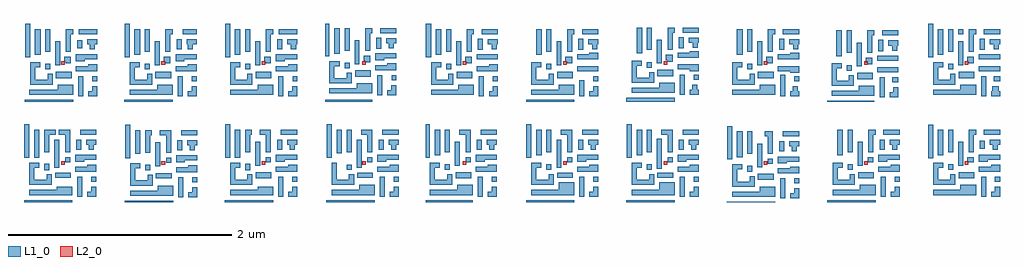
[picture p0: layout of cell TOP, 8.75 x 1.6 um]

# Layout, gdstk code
import gdstk
lib = gdstk.Library(unit=1e-6, precision=1e-09)
def R(c, l, rs):  # rectangles x0, y0, x1, y1
    for r in rs: c.add(gdstk.rectangle(r[:2], r[2:], *l))
def A(c, l, x, y, w, h, nx, ny, dx, dy):  # array of equal rectangles
    R(c, l, [(x+i*dx, y+j*dy, x+i*dx+w, y+j*dy+h) for i in range(nx) for j in range(ny)])
def P(c, l, *ps):  # polygons
    for p in ps: c.add(gdstk.Polygon(p, *l))
L1_0 = (1, 0)
L2_0 = (2, 0)

top = lib.new_cell('TOP')
A(top, L1_0, 4.778, 1.111, 0.14, 0.058, 3, 1, 1.8, 0)
A(top, L1_0, 4.683, 1.188, 0.045, 0.05, 3, 1, 1.8, 0)
A(top, L1_0, 4.773, 1.227, 0.044, 0.212, 3, 1, 1.8, 0)
A(top, L1_0, 4.59, 1.318, 0.05, 0.23, 3, 1, 1.8, 0)
A(top, L1_0, 4.683, 1.348, 0.045, 0.2, 3, 1, 1.8, 0)
A(top, L1_0, 4.968, 1.363, 0.045, 0.1, 3, 1, 1.8, 0)
A(top, L1_0, 5.003, 1.503, 0.145, 0.045, 3, 1, 1.8, 0)
R(top, L1_0, [(0,0,0.433,0.018), (0.905,0,1.338,0.013), (1.8,0,2.233,0.018), (2.71,0,3.143,0.018), (3.6,0,4.023,0.018), (4.5,0,4.933,0.018), (5.4,0,5.833,0.018), (6.3,0,6.733,0.003), (7.2,0,7.633,0.018), (6.778,0.033,6.823,0.213), (1.383,0.043,1.428,0.223), (0.478,0.048,0.523,0.228), (2.278,0.048,2.323,0.228), (3.188,0.048,3.233,0.228), (4.068,0.048,4.113,0.228), (4.978,0.048,5.023,0.228), (5.878,0.048,5.923,0.228), (7.678,0.048,7.723,0.228), (8.578,0.048,8.623,0.228), (6.903,0.168,6.948,0.213), (1.508,0.178,1.553,0.223), (0.603,0.183,0.648,0.228), (2.403,0.183,2.448,0.228), (3.313,0.183,3.358,0.228), (4.193,0.183,4.238,0.228), (5.103,0.183,5.148,0.228), (6.003,0.183,6.048,0.228), (7.803,0.183,7.848,0.228), (8.703,0.183,8.748,0.228), (6.578,0.198,6.718,0.253), (7.478,0.211,7.618,0.269), (8.378,0.211,8.518,0.269), (1.183,0.213,1.323,0.258), (2.078,0.214,2.218,0.266), (3.868,0.214,4.008,0.266), (0.278,0.218,0.418,0.263), (2.988,0.218,3.128,0.263), (4.778,0.218,4.918,0.263), (5.678,0.218,5.818,0.263), (6.483,0.273,6.528,0.323), (0.183,0.283,0.228,0.343), (1.088,0.283,1.133,0.333), (1.983,0.283,2.028,0.343), (3.773,0.288,3.818,0.338), (4.683,0.288,4.728,0.338), (5.583,0.288,5.628,0.338), (7.383,0.288,7.428,0.338), (8.283,0.288,8.328,0.338), (2.893,0.29,2.938,0.335), (5.673,0.298,5.717,0.568), (0.273,0.308,0.317,0.558), (2.983,0.308,3.027,0.558), (4.773,0.308,4.817,0.558), (6.573,0.312,6.617,0.524), (1.178,0.322,1.222,0.534), (2.073,0.327,2.117,0.539), (3.863,0.327,3.907,0.539), (7.473,0.327,7.517,0.539), (8.373,0.327,8.417,0.539), (6.668,0.343,6.713,0.388), (1.273,0.353,1.318,0.398), (0.368,0.358,0.413,0.403), (2.168,0.358,2.213,0.403), (3.078,0.358,3.123,0.403), (3.958,0.358,4.003,0.403), (4.868,0.358,4.913,0.403), (5.768,0.358,5.813,0.403), (7.563,0.358,7.613,0.403), (8.453,0.358,8.513,0.403), (6.303,0.382,6.348,0.681), (0.908,0.392,0.953,0.691), (8.103,0.392,8.148,0.691), (0.003,0.397,0.048,0.696), (1.803,0.397,1.848,0.696), (2.713,0.397,2.758,0.696), (3.6,0.397,3.638,0.696), (4.503,0.397,4.548,0.696), (5.403,0.397,5.448,0.696), (0.093,0.398,0.138,0.648), (1.89,0.398,1.94,0.648), (6.39,0.403,6.44,0.633), (3.68,0.418,3.73,0.648), (4.59,0.418,4.64,0.648), (5.49,0.418,5.54,0.648), (7.29,0.418,7.34,0.648), (8.19,0.418,8.24,0.648), (0.998,0.431,1.043,0.643), (6.483,0.433,6.528,0.633), (2.803,0.436,2.848,0.648), (2.893,0.448,2.938,0.648), (3.773,0.448,3.818,0.648), (4.683,0.448,4.728,0.648), (5.583,0.448,5.628,0.648), (7.383,0.448,7.428,0.648), (8.283,0.448,8.328,0.648), (6.768,0.453,6.813,0.543), (1.373,0.463,1.418,0.553), (0.468,0.468,0.513,0.558), (2.268,0.468,2.313,0.558), (3.178,0.468,3.223,0.558), (4.058,0.468,4.103,0.558), (4.968,0.468,5.013,0.558), (5.868,0.468,5.913,0.558), (7.668,0.468,7.713,0.558), (8.568,0.477,8.613,0.549), (6.803,0.588,6.948,0.633), (1.408,0.598,1.553,0.643), (0.503,0.603,0.648,0.648), (2.303,0.603,2.448,0.648), (3.213,0.603,3.358,0.648), (4.093,0.603,4.238,0.648), (5.003,0.603,5.148,0.648), (5.903,0.603,6.048,0.648), (7.703,0.603,7.848,0.648), (8.603,0.603,8.748,0.648), (0.007,0.9,0.44,0.918), (0.9,0.9,1.333,0.918), (2.7,0.9,3.123,0.918), (4.5,0.9,4.933,0.918), (5.4,0.9,5.833,0.933), (7.2,0.9,7.623,0.908), (7.668,0.938,7.713,1.118), (0.486,0.948,0.531,1.128), (1.378,0.948,1.423,1.128), (2.278,0.948,2.323,1.128), (4.078,0.948,4.123,1.128), (4.978,0.948,5.023,1.092), (6.778,0.948,6.823,1.143), (8.578,0.948,8.623,1.128), (3.168,0.958,3.213,1.138), (5.878,0.963,5.923,1.143), (7.783,1.073,7.838,1.118), (0.611,1.083,0.656,1.128), (1.503,1.083,1.548,1.128), (2.408,1.083,2.448,1.128), (4.203,1.083,4.248,1.128), (5.103,1.083,5.148,1.128), (6.903,1.083,6.948,1.128), (8.693,1.083,8.748,1.128), (3.298,1.093,3.338,1.138), (6.003,1.098,6.048,1.143), (7.468,1.101,7.608,1.159), (0.286,1.111,0.426,1.169), (1.178,1.111,1.318,1.169), (2.078,1.111,2.218,1.169), (3.878,1.111,4.018,1.169), (2.968,1.121,3.108,1.179), (5.678,1.126,5.818,1.184), (7.648,1.163,7.838,1.208), (4.958,1.173,5.148,1.218), (8.558,1.173,8.748,1.218), (7.373,1.178,7.418,1.228), (0.191,1.188,0.236,1.238), (1.083,1.188,1.128,1.238), (1.983,1.188,2.028,1.238), (3.783,1.188,3.828,1.238), (2.873,1.198,2.918,1.248), (5.583,1.203,5.628,1.253), (7.463,1.217,7.507,1.429), (0.281,1.227,0.325,1.439), (1.173,1.227,1.217,1.439), (2.073,1.227,2.117,1.439), (3.873,1.227,3.917,1.439), (2.963,1.237,3.007,1.449), (5.673,1.242,5.717,1.454), (7.648,1.268,7.838,1.313), (4.058,1.278,4.248,1.323), (8.558,1.278,8.748,1.323), (0.011,1.297,0.056,1.596), (0.903,1.297,0.948,1.596), (1.803,1.297,1.848,1.596), (3.603,1.297,3.648,1.596), (8.103,1.297,8.148,1.596), (2.7,1.307,2.738,1.596), (7.28,1.308,7.33,1.538), (0.098,1.318,0.148,1.548), (0.99,1.318,1.04,1.548), (1.89,1.318,1.94,1.548), (3.69,1.318,3.74,1.548), (2.78,1.328,2.83,1.558), (5.49,1.333,5.54,1.563), (7.373,1.338,7.418,1.538), (0.191,1.348,0.236,1.548), (1.083,1.348,1.128,1.548), (1.983,1.348,2.028,1.548), (3.783,1.348,3.828,1.548), (7.658,1.353,7.703,1.453), (2.873,1.358,2.918,1.558), (4.068,1.363,4.113,1.463), (5.583,1.363,5.628,1.563), (1.368,1.368,1.413,1.458), (2.268,1.368,2.313,1.458), (3.158,1.373,3.203,1.473), (0.476,1.377,0.521,1.449), (5.868,1.378,5.913,1.478), (7.693,1.493,7.838,1.538), (0.491,1.503,0.656,1.548), (1.423,1.503,1.548,1.548), (2.283,1.503,2.448,1.548), (4.103,1.503,4.248,1.548), (8.373,1.503,8.418,1.548), (3.193,1.513,3.338,1.558), (5.903,1.518,6.048,1.563)])
P(top, L1_0, [(0.048,0.963),(0.048,1.008),(0.301,1.008),(0.301,1.053),(0.441,1.053),(0.441,0.963)],
  [(2.758,0.153),(2.758,0.353),(2.803,0.353),(2.803,0.198),(2.913,0.198),(2.913,0.248),(2.958,0.248),(2.958,0.153)],
  [(1.468,1.368),(1.468,1.413),(1.458,1.413),(1.458,1.458),(1.548,1.458),(1.548,1.413),(1.513,1.413),(1.513,1.368)],
  [(6.758,0.258),(6.758,0.303),(6.868,0.303),(6.868,0.318),(6.948,0.318),(6.948,0.258)],
  [(1.363,0.268),(1.363,0.313),(1.473,0.313),(1.473,0.328),(1.553,0.328),(1.553,0.268)],
  [(0.458,0.273),(0.458,0.318),(0.568,0.318),(0.568,0.333),(0.648,0.333),(0.648,0.273)],
  [(2.258,0.273),(2.258,0.318),(2.368,0.318),(2.368,0.333),(2.448,0.333),(2.448,0.273)],
  [(3.168,0.273),(3.168,0.318),(3.278,0.318),(3.278,0.333),(3.358,0.333),(3.358,0.273)],
  [(4.048,0.273),(4.048,0.318),(4.158,0.318),(4.158,0.333),(4.238,0.333),(4.238,0.273)],
  [(4.958,0.273),(4.958,0.318),(5.068,0.318),(5.068,0.333),(5.148,0.333),(5.148,0.273)],
  [(5.858,0.273),(5.858,0.318),(5.968,0.318),(5.968,0.333),(6.048,0.333),(6.048,0.273)],
  [(7.658,0.273),(7.658,0.318),(7.768,0.318),(7.768,0.333),(7.848,0.333),(7.848,0.273)],
  [(8.558,0.273),(8.558,0.318),(8.668,0.318),(8.668,0.333),(8.748,0.333),(8.748,0.273)],
  [(0.466,1.173),(0.466,1.218),(0.576,1.218),(0.576,1.233),(0.656,1.233),(0.656,1.173)],
  [(1.358,1.173),(1.358,1.218),(1.468,1.218),(1.468,1.233),(1.548,1.233),(1.548,1.173)],
  [(2.258,1.173),(2.258,1.218),(2.368,1.218),(2.368,1.233),(2.448,1.233),(2.448,1.173)],
  [(4.058,1.173),(4.058,1.218),(4.168,1.218),(4.168,1.233),(4.248,1.233),(4.248,1.173)],
  [(3.148,1.183),(3.148,1.228),(3.258,1.228),(3.258,1.243),(3.338,1.243),(3.338,1.183)],
  [(4.958,1.278),(4.958,1.323),(5.068,1.323),(5.068,1.338),(5.148,1.338),(5.148,1.278)],
  [(6.758,1.278),(6.758,1.323),(6.868,1.323),(6.868,1.338),(6.948,1.338),(6.948,1.278)],
  [(5.858,1.293),(5.858,1.338),(5.968,1.338),(5.968,1.353),(6.048,1.353),(6.048,1.293)],
  [(6.868,0.033),(6.868,0.078),(6.903,0.078),(6.903,0.123),(6.948,0.123),(6.948,0.033)],
  [(1.473,0.043),(1.473,0.088),(1.508,0.088),(1.508,0.133),(1.553,0.133),(1.553,0.043)],
  [(0.568,0.048),(0.568,0.093),(0.603,0.093),(0.603,0.138),(0.648,0.138),(0.648,0.048)],
  [(2.368,0.048),(2.368,0.093),(2.403,0.093),(2.403,0.138),(2.448,0.138),(2.448,0.048)],
  [(3.278,0.048),(3.278,0.093),(3.313,0.093),(3.313,0.138),(3.358,0.138),(3.358,0.048)],
  [(4.158,0.048),(4.158,0.093),(4.193,0.093),(4.193,0.138),(4.238,0.138),(4.238,0.048)],
  [(5.068,0.048),(5.068,0.093),(5.103,0.093),(5.103,0.138),(5.148,0.138),(5.148,0.048)],
  [(5.968,0.048),(5.968,0.093),(6.003,0.093),(6.003,0.138),(6.048,0.138),(6.048,0.048)],
  [(7.768,0.048),(7.768,0.093),(7.803,0.093),(7.803,0.138),(7.848,0.138),(7.848,0.048)],
  [(8.668,0.048),(8.668,0.093),(8.703,0.093),(8.703,0.138),(8.748,0.138),(8.748,0.048)],
  [(7.758,0.938),(7.758,0.983),(7.793,0.983),(7.793,1.028),(7.838,1.028),(7.838,0.938)],
  [(0.576,0.948),(0.576,0.993),(0.611,0.993),(0.611,1.038),(0.656,1.038),(0.656,0.948)],
  [(1.468,0.948),(1.468,0.993),(1.503,0.993),(1.503,1.038),(1.548,1.038),(1.548,0.948)],
  [(2.368,0.948),(2.368,0.993),(2.403,0.993),(2.403,1.038),(2.448,1.038),(2.448,0.948)],
  [(4.168,0.948),(4.168,0.993),(4.203,0.993),(4.203,1.038),(4.248,1.038),(4.248,0.948)],
  [(5.068,0.948),(5.068,0.993),(5.103,0.993),(5.103,1.038),(5.148,1.038),(5.148,0.948)],
  [(3.258,0.958),(3.258,1.003),(3.293,1.003),(3.293,1.048),(3.338,1.048),(3.338,0.958)],
  [(7.783,1.358),(7.783,1.403),(7.748,1.403),(7.748,1.448),(7.838,1.448),(7.838,1.403),(7.828,1.403),(7.828,1.358)],
  [(2.393,1.368),(2.393,1.413),(2.358,1.413),(2.358,1.458),(2.448,1.458),(2.448,1.413),(2.438,1.413),(2.438,1.368)],
  [(4.193,1.368),(4.193,1.413),(4.158,1.413),(4.158,1.458),(4.248,1.458),(4.248,1.413),(4.238,1.413),(4.238,1.368)],
  [(5.093,1.368),(5.093,1.413),(5.058,1.413),(5.058,1.458),(5.148,1.458),(5.148,1.413),(5.138,1.413),(5.138,1.368)],
  [(6.893,1.368),(6.893,1.413),(6.858,1.413),(6.858,1.458),(6.948,1.458),(6.948,1.413),(6.938,1.413),(6.938,1.368)],
  [(8.693,1.368),(8.693,1.413),(8.658,1.413),(8.658,1.458),(8.748,1.458),(8.748,1.413),(8.738,1.413),(8.738,1.368)],
  [(5.993,1.383),(5.993,1.428),(5.958,1.428),(5.958,1.473),(6.048,1.473),(6.048,1.428),(6.038,1.428),(6.038,1.383)],
  [(7.568,0.448),(7.568,0.648),(7.633,0.648),(7.633,0.603),(7.613,0.603),(7.613,0.448)],
  [(8.468,0.448),(8.468,0.648),(8.533,0.648),(8.533,0.603),(8.513,0.603),(8.513,0.448)],
  [(7.558,1.338),(7.558,1.538),(7.623,1.538),(7.623,1.493),(7.603,1.493),(7.603,1.338)],
  [(0.376,1.348),(0.376,1.548),(0.441,1.548),(0.441,1.503),(0.421,1.503),(0.421,1.348)],
  [(1.268,1.348),(1.268,1.548),(1.333,1.548),(1.333,1.503),(1.313,1.503),(1.313,1.348)],
  [(2.168,1.348),(2.168,1.548),(2.233,1.548),(2.233,1.503),(2.213,1.503),(2.213,1.348)],
  [(3.968,1.348),(3.968,1.548),(4.033,1.548),(4.033,1.503),(4.013,1.503),(4.013,1.348)],
  [(4.868,1.348),(4.868,1.548),(4.933,1.548),(4.933,1.503),(4.913,1.503),(4.913,1.348)],
  [(6.668,1.348),(6.668,1.548),(6.733,1.548),(6.733,1.503),(6.713,1.503),(6.713,1.348)],
  [(8.468,1.348),(8.468,1.548),(8.533,1.548),(8.533,1.503),(8.513,1.503),(8.513,1.348)],
  [(3.058,1.358),(3.058,1.558),(3.123,1.558),(3.123,1.513),(3.103,1.513),(3.103,1.358)],
  [(5.768,1.363),(5.768,1.563),(5.833,1.563),(5.833,1.518),(5.813,1.518),(5.813,1.363)],
  [(4.548,0.063),(4.548,0.108),(4.793,0.108),(4.793,0.178),(4.933,0.178),(4.933,0.063)],
  [(5.448,0.063),(5.448,0.108),(5.693,0.108),(5.693,0.178),(5.833,0.178),(5.833,0.063)],
  [(7.558,1.233),(7.558,1.248),(7.543,1.248),(7.543,1.293),(7.603,1.293),(7.603,1.233)],
  [(0.376,1.243),(0.376,1.258),(0.361,1.258),(0.361,1.303),(0.421,1.303),(0.421,1.243)],
  [(1.268,1.243),(1.268,1.258),(1.253,1.258),(1.253,1.303),(1.313,1.303),(1.313,1.243)],
  [(2.168,1.243),(2.168,1.258),(2.153,1.258),(2.153,1.303),(2.213,1.303),(2.213,1.243)],
  [(3.968,1.243),(3.968,1.258),(3.953,1.258),(3.953,1.303),(4.013,1.303),(4.013,1.243)],
  [(4.868,1.243),(4.868,1.258),(4.853,1.258),(4.853,1.303),(4.913,1.303),(4.913,1.243)],
  [(6.668,1.243),(6.668,1.258),(6.653,1.258),(6.653,1.303),(6.713,1.303),(6.713,1.243)],
  [(8.468,1.243),(8.468,1.258),(8.453,1.258),(8.453,1.303),(8.513,1.303),(8.513,1.243)],
  [(3.058,1.253),(3.058,1.268),(3.043,1.268),(3.043,1.313),(3.103,1.313),(3.103,1.253)],
  [(5.768,1.258),(5.768,1.273),(5.753,1.273),(5.753,1.318),(5.813,1.318),(5.813,1.258)],
  [(6.868,0.948),(6.868,0.993),(6.891,0.993),(6.891,1.038),(6.936,1.038),(6.936,0.993),(6.948,0.993),(6.948,0.948)],
  [(5.968,0.963),(5.968,1.008),(5.991,1.008),(5.991,1.053),(6.036,1.053),(6.036,1.008),(6.048,1.008),(6.048,0.963)],
  [(1.273,0.443),(1.273,0.598),(1.218,0.598),(1.218,0.643),(1.318,0.643),(1.318,0.443)],
  [(0.368,0.448),(0.368,0.603),(0.313,0.603),(0.313,0.648),(0.413,0.648),(0.413,0.448)],
  [(2.168,0.448),(2.168,0.603),(2.113,0.603),(2.113,0.648),(2.213,0.648),(2.213,0.448)],
  [(3.078,0.448),(3.078,0.603),(3.023,0.603),(3.023,0.648),(3.123,0.648),(3.123,0.448)],
  [(3.958,0.448),(3.958,0.603),(3.903,0.603),(3.903,0.648),(4.003,0.648),(4.003,0.448)],
  [(4.868,0.448),(4.868,0.603),(4.813,0.603),(4.813,0.648),(4.913,0.648),(4.913,0.448)],
  [(5.768,0.448),(5.768,0.603),(5.713,0.603),(5.713,0.648),(5.813,0.648),(5.813,0.448)],
  [(0.048,0.063),(0.048,0.108),(0.293,0.108),(0.293,0.138),(0.433,0.138),(0.433,0.063)],
  [(1.848,0.063),(1.848,0.108),(2.093,0.108),(2.093,0.138),(2.233,0.138),(2.233,0.063)],
  [(6.348,0.138),(6.348,0.338),(6.438,0.338),(6.438,0.293),(6.393,0.293),(6.393,0.183),(6.503,0.183),(6.503,0.233),(6.548,0.233),(6.548,0.138)],
  [(0.953,0.148),(0.953,0.348),(1.043,0.348),(1.043,0.303),(0.998,0.303),(0.998,0.193),(1.108,0.193),(1.108,0.243),(1.153,0.243),(1.153,0.148)],
  [(0.048,0.153),(0.048,0.353),(0.138,0.353),(0.138,0.308),(0.093,0.308),(0.093,0.198),(0.203,0.198),(0.203,0.248),(0.248,0.248),(0.248,0.153)],
  [(1.848,0.153),(1.848,0.353),(1.938,0.353),(1.938,0.308),(1.893,0.308),(1.893,0.198),(2.003,0.198),(2.003,0.248),(2.048,0.248),(2.048,0.153)],
  [(3.638,0.153),(3.638,0.353),(3.728,0.353),(3.728,0.308),(3.683,0.308),(3.683,0.198),(3.793,0.198),(3.793,0.248),(3.838,0.248),(3.838,0.153)],
  [(4.548,0.153),(4.548,0.353),(4.638,0.353),(4.638,0.308),(4.593,0.308),(4.593,0.198),(4.703,0.198),(4.703,0.248),(4.748,0.248),(4.748,0.153)],
  [(5.448,0.153),(5.448,0.353),(5.538,0.353),(5.538,0.308),(5.493,0.308),(5.493,0.198),(5.603,0.198),(5.603,0.248),(5.648,0.248),(5.648,0.153)],
  [(7.248,0.153),(7.248,0.353),(7.338,0.353),(7.338,0.308),(7.293,0.308),(7.293,0.198),(7.403,0.198),(7.403,0.248),(7.448,0.248),(7.448,0.153)],
  [(8.148,0.153),(8.148,0.353),(8.238,0.353),(8.238,0.308),(8.193,0.308),(8.193,0.198),(8.303,0.198),(8.303,0.248),(8.348,0.248),(8.348,0.153)],
  [(7.238,1.043),(7.238,1.243),(7.328,1.243),(7.328,1.198),(7.283,1.198),(7.283,1.088),(7.393,1.088),(7.393,1.138),(7.438,1.138),(7.438,1.043)],
  [(0.056,1.053),(0.056,1.253),(0.146,1.253),(0.146,1.208),(0.101,1.208),(0.101,1.098),(0.211,1.098),(0.211,1.148),(0.256,1.148),(0.256,1.053)],
  [(0.948,1.053),(0.948,1.253),(1.038,1.253),(1.038,1.208),(0.993,1.208),(0.993,1.098),(1.103,1.098),(1.103,1.148),(1.148,1.148),(1.148,1.053)],
  [(1.848,1.053),(1.848,1.253),(1.938,1.253),(1.938,1.208),(1.893,1.208),(1.893,1.098),(2.003,1.098),(2.003,1.148),(2.048,1.148),(2.048,1.053)],
  [(3.648,1.053),(3.648,1.253),(3.738,1.253),(3.738,1.208),(3.693,1.208),(3.693,1.098),(3.803,1.098),(3.803,1.148),(3.848,1.148),(3.848,1.053)],
  [(4.548,1.053),(4.548,1.253),(4.638,1.253),(4.638,1.208),(4.593,1.208),(4.593,1.098),(4.703,1.098),(4.703,1.148),(4.748,1.148),(4.748,1.053)],
  [(6.348,1.053),(6.348,1.253),(6.438,1.253),(6.438,1.208),(6.393,1.208),(6.393,1.098),(6.503,1.098),(6.503,1.148),(6.548,1.148),(6.548,1.053)],
  [(8.148,1.053),(8.148,1.253),(8.238,1.253),(8.238,1.208),(8.193,1.208),(8.193,1.098),(8.303,1.098),(8.303,1.148),(8.348,1.148),(8.348,1.053)],
  [(2.738,1.063),(2.738,1.263),(2.828,1.263),(2.828,1.218),(2.783,1.218),(2.783,1.108),(2.893,1.108),(2.893,1.158),(2.938,1.158),(2.938,1.063)],
  [(5.448,1.068),(5.448,1.268),(5.538,1.268),(5.538,1.223),(5.493,1.223),(5.493,1.113),(5.603,1.113),(5.603,1.163),(5.648,1.163),(5.648,1.068)],
  [(1.088,0.443),(1.088,0.643),(1.145,0.643),(1.145,0.598),(1.133,0.598),(1.133,0.443)],
  [(1.983,0.448),(1.983,0.648),(2.04,0.648),(2.04,0.603),(2.028,0.603),(2.028,0.448)],
  [(6.881,0.453),(6.881,0.498),(6.858,0.498),(6.858,0.543),(6.948,0.543),(6.948,0.498),(6.926,0.498),(6.926,0.453)],
  [(1.486,0.463),(1.486,0.508),(1.463,0.508),(1.463,0.553),(1.553,0.553),(1.553,0.508),(1.531,0.508),(1.531,0.463)],
  [(0.581,0.468),(0.581,0.513),(0.558,0.513),(0.558,0.558),(0.648,0.558),(0.648,0.513),(0.626,0.513),(0.626,0.468)],
  [(2.381,0.468),(2.381,0.513),(2.358,0.513),(2.358,0.558),(2.448,0.558),(2.448,0.513),(2.426,0.513),(2.426,0.468)],
  [(3.291,0.468),(3.291,0.513),(3.268,0.513),(3.268,0.558),(3.358,0.558),(3.358,0.513),(3.336,0.513),(3.336,0.468)],
  [(4.171,0.468),(4.171,0.513),(4.148,0.513),(4.148,0.558),(4.238,0.558),(4.238,0.513),(4.216,0.513),(4.216,0.468)],
  [(5.081,0.468),(5.081,0.513),(5.058,0.513),(5.058,0.558),(5.148,0.558),(5.148,0.513),(5.126,0.513),(5.126,0.468)],
  [(5.981,0.468),(5.981,0.513),(5.958,0.513),(5.958,0.558),(6.048,0.558),(6.048,0.513),(6.026,0.513),(6.026,0.468)],
  [(7.781,0.468),(7.781,0.513),(7.758,0.513),(7.758,0.558),(7.848,0.558),(7.848,0.513),(7.826,0.513),(7.826,0.468)],
  [(8.681,0.468),(8.681,0.513),(8.658,0.513),(8.658,0.558),(8.748,0.558),(8.748,0.513),(8.726,0.513),(8.726,0.468)],
  [(0.589,1.368),(0.589,1.413),(0.566,1.413),(0.566,1.458),(0.656,1.458),(0.656,1.413),(0.634,1.413),(0.634,1.368)],
  [(3.271,1.378),(3.271,1.423),(3.248,1.423),(3.248,1.468),(3.338,1.468),(3.338,1.423),(3.316,1.423),(3.316,1.378)],
  [(0.183,0.448),(0.183,0.648),(0.283,0.648),(0.283,0.603),(0.228,0.603),(0.228,0.448)],
  [(6.348,0.048),(6.348,0.093),(6.593,0.093),(6.593,0.138),(6.733,0.138),(6.733,0.048)],
  [(0.953,0.058),(0.953,0.103),(1.198,0.103),(1.198,0.148),(1.338,0.148),(1.338,0.058)],
  [(2.758,0.063),(2.758,0.108),(3.003,0.108),(3.003,0.153),(3.143,0.153),(3.143,0.063)],
  [(3.638,0.063),(3.638,0.108),(3.883,0.108),(3.883,0.153),(4.023,0.153),(4.023,0.063)],
  [(7.248,0.063),(7.248,0.108),(7.493,0.108),(7.493,0.153),(7.633,0.153),(7.633,0.063)],
  [(8.148,0.063),(8.148,0.108),(8.393,0.108),(8.393,0.153),(8.533,0.153),(8.533,0.063)],
  [(7.238,0.953),(7.238,0.998),(7.483,0.998),(7.483,1.043),(7.623,1.043),(7.623,0.953)],
  [(0.948,0.963),(0.948,1.008),(1.193,1.008),(1.193,1.053),(1.333,1.053),(1.333,0.963)],
  [(1.848,0.963),(1.848,1.008),(2.093,1.008),(2.093,1.053),(2.233,1.053),(2.233,0.963)],
  [(3.648,0.963),(3.648,1.008),(3.893,1.008),(3.893,1.053),(4.033,1.053),(4.033,0.963)],
  [(4.548,0.963),(4.548,1.008),(4.793,1.008),(4.793,1.053),(4.933,1.053),(4.933,0.963)],
  [(6.348,0.963),(6.348,1.008),(6.593,1.008),(6.593,1.053),(6.733,1.053),(6.733,0.963)],
  [(8.148,0.963),(8.148,1.008),(8.393,1.008),(8.393,1.053),(8.533,1.053),(8.533,0.963)],
  [(2.738,0.973),(2.738,1.018),(2.983,1.018),(2.983,1.063),(3.123,1.063),(3.123,0.973)],
  [(5.448,0.978),(5.448,1.023),(5.693,1.023),(5.693,1.068),(5.833,1.068),(5.833,0.978)],
  [(6.758,0.348),(6.758,0.408),(6.948,0.408),(6.948,0.363),(6.838,0.363),(6.838,0.348)],
  [(1.363,0.358),(1.363,0.418),(1.553,0.418),(1.553,0.373),(1.443,0.373),(1.443,0.358)],
  [(0.458,0.363),(0.458,0.423),(0.648,0.423),(0.648,0.378),(0.538,0.378),(0.538,0.363)],
  [(2.258,0.363),(2.258,0.423),(2.448,0.423),(2.448,0.378),(2.338,0.378),(2.338,0.363)],
  [(3.168,0.363),(3.168,0.423),(3.358,0.423),(3.358,0.378),(3.248,0.378),(3.248,0.363)],
  [(4.048,0.363),(4.048,0.423),(4.238,0.423),(4.238,0.378),(4.128,0.378),(4.128,0.363)],
  [(4.958,0.363),(4.958,0.423),(5.148,0.423),(5.148,0.378),(5.038,0.378),(5.038,0.363)],
  [(5.858,0.363),(5.858,0.423),(6.048,0.423),(6.048,0.378),(5.938,0.378),(5.938,0.363)],
  [(7.658,0.363),(7.658,0.423),(7.848,0.423),(7.848,0.378),(7.738,0.378),(7.738,0.363)],
  [(8.558,0.363),(8.558,0.423),(8.748,0.423),(8.748,0.378),(8.638,0.378),(8.638,0.363)],
  [(0.466,1.263),(0.466,1.323),(0.656,1.323),(0.656,1.278),(0.546,1.278),(0.546,1.263)],
  [(1.358,1.263),(1.358,1.323),(1.548,1.323),(1.548,1.278),(1.438,1.278),(1.438,1.263)],
  [(2.258,1.263),(2.258,1.323),(2.448,1.323),(2.448,1.278),(2.338,1.278),(2.338,1.263)],
  [(3.148,1.273),(3.148,1.333),(3.338,1.333),(3.338,1.288),(3.228,1.288),(3.228,1.273)],
  [(6.868,1.158),(6.868,1.173),(6.758,1.173),(6.758,1.218),(6.948,1.218),(6.948,1.158)],
  [(5.968,1.173),(5.968,1.188),(5.858,1.188),(5.858,1.233),(6.048,1.233),(6.048,1.173)],
  [(6.668,0.433),(6.668,0.588),(6.638,0.588),(6.638,0.633),(6.713,0.633),(6.713,0.433)],
  [(8.668,0.948),(8.668,0.993),(8.68,0.993),(8.68,1.038),(8.736,1.038),(8.736,0.993),(8.748,0.993),(8.748,0.948)])
A(top, L2_0, 0.332, 0.332, 0.032, 0.032, 10, 2, 0.9, 0.9)

lib.write_gds('TOP.gds')
